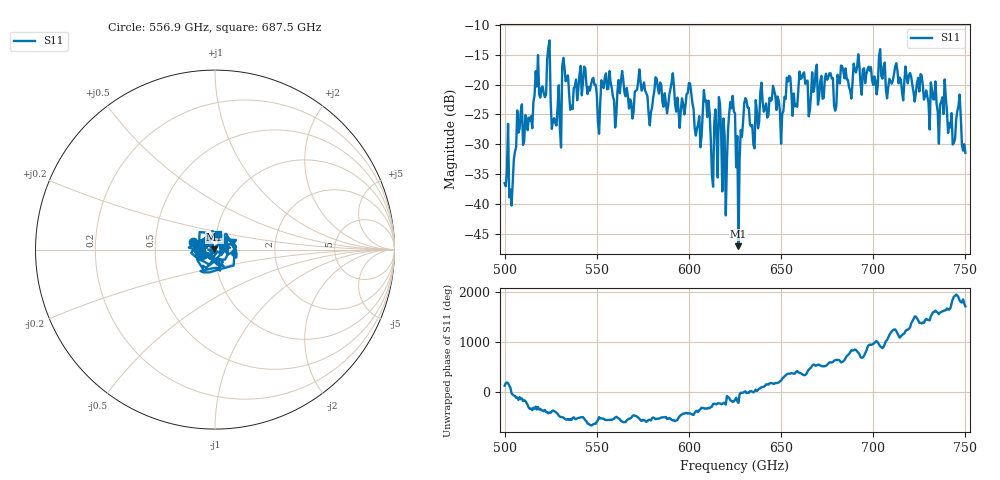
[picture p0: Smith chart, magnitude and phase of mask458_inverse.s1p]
!Created with skrf (http://scikit-rf.org).
# GHz S MA R 50.0
!freq magS11 angS11
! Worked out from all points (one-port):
!   401 points, 500 GHz to 750 GHz, reference 50 ohm
!   lowest |S11| = -47.1 dB at 626.9 GHz (marker M1), VSWR 1.01, Z = 49.6 + j0.259 ohm
!   |S11| at or under -10 dB: start of sweep to end of sweep
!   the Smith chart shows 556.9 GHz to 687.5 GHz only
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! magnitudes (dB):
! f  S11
! 500 GHz  -36.5
! 503.8 GHz  -40.3
! 508.1 GHz  -27.4
! 513.8 GHz  -26.1
! 516.9 GHz  -17.8
! 523.8 GHz  -13.8
! 526.9 GHz  -25.6
! 531.2 GHz  -17.0
! 562.5 GHz  -21.5
! 593.8 GHz  -22.2
! 600 GHz  -19.8
! 605.6 GHz  -25.3
! 609.4 GHz  -22.7
! 612.5 GHz  -35.2
! 617.5 GHz  -28.4
! 619.4 GHz  -28.5
! 622.5 GHz  -22.9
! 625 GHz  -24.8
! 626.9 GHz  -47.1
! 631.2 GHz  -22.7
! 634.4 GHz  -26.8
! 640 GHz  -23.0
! 656.2 GHz  -25.2
! 687.5 GHz  -21.0
! 718.8 GHz  -19.8
! 743.1 GHz  -30.1
! 746.2 GHz  -23.6
! 750 GHz  -31.4
